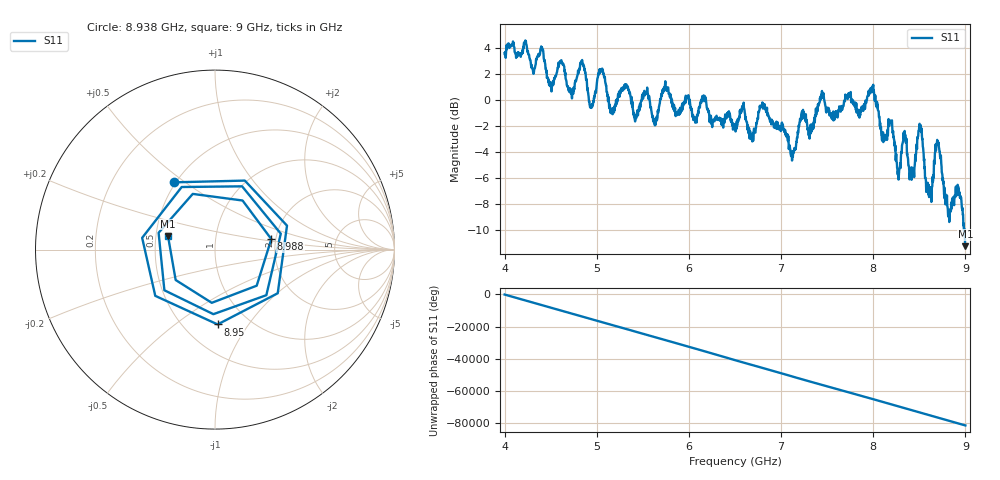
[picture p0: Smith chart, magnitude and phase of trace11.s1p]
! Created with skrf 1.8.0 (http://scikit-rf.org).
# Hz S RI R 50.0
!freq ReS11 ImS11
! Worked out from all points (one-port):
!   1601 points, 4 GHz to 9 GHz, reference 50 ohm
!   lowest |S11| = -11.3 dB at 9 GHz (marker M1), VSWR 1.75, Z = 28.9 + j4.79 ohm
!   |S11| at or under -10 dB: 8.983616 GHz to 8.985887 GHz (2.272 MHz wide, 0.0253 % of centre); 8.988718 GHz to end of sweep
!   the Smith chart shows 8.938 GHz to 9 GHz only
!   S11 on the Smith chart (normalised r, x): 8.938 GHz: 0.49, +0.45; 8.95 GHz: 0.72, -0.73; 8.988 GHz: 1.89, +0.25; 9 GHz: 0.58, +0.10
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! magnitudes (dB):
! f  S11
! 4 GHz  3.6
! 4.397 GHz  4.1
! 4.503 GHz  1.0
! 4.625 GHz  2.8
! 4.719 GHz  0.5
! 4.844 GHz  2.9
! 4.941 GHz  -0.6
! 5.041 GHz  2.2
! 5.159 GHz  -0.8
! 5.25 GHz  0.6
! 5.875 GHz  -1.1
! 6.5 GHz  -2.2
! 6.809 GHz  -0.5
! 7.125 GHz  -4.2
! 7.231 GHz  -1.5
! 7.75 GHz  0.2
! 7.988 GHz  1.0
! 8.269 GHz  -5.5
! 8.375 GHz  -4.4
! 8.425 GHz  -5.7
! 8.509 GHz  -2.2
! 8.6 GHz  -7.3
! 8.697 GHz  -3.3
! 8.809 GHz  -8.4
! 8.938 GHz  -7.1
! 8.95 GHz  -7.6
! 8.988 GHz  -9.9
! 9 GHz  -11.3
